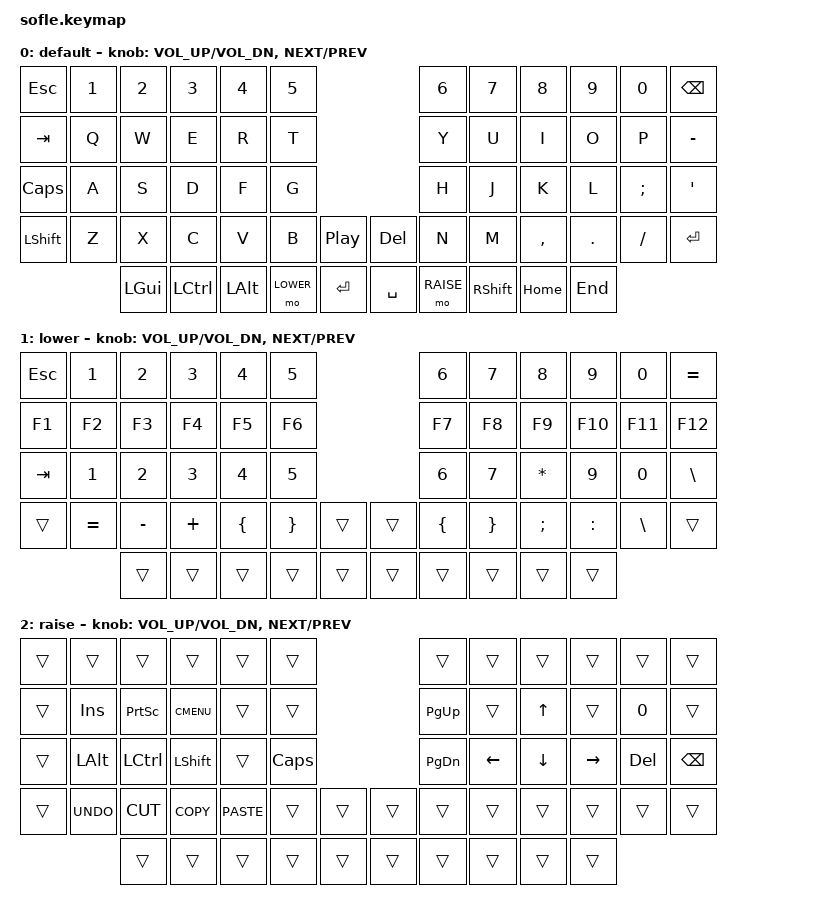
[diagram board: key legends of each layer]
#include <behaviors.dtsi>
#include <dt-bindings/zmk/keys.h>

#define BASE 0
#define LOWER 1
#define RAISE 2

/ {
    keymap {
        compatible = "zmk,keymap";

        default_layer {
            display-name = "default";

            bindings = <
&kp ESC   &kp N1    &kp N2    &kp N3    &kp N4    &kp N5                         &kp N6    &kp N7    &kp N8    &kp N9    &kp N0    &kp BSPC
&kp TAB   &kp Q     &kp W     &kp E     &kp R     &kp T                          &kp Y     &kp U     &kp I     &kp O     &kp P     &kp MINUS
&kp CLCK  &kp A     &kp S     &kp D     &kp F     &kp G                          &kp H     &kp J     &kp K     &kp L     &kp SEMI  &kp SQT
&kp LSHFT &kp Z     &kp X     &kp C     &kp V     &kp B     &kp C_PP  &kp DEL    &kp N     &kp M     &kp COMMA &kp DOT   &kp FSLH  &kp RET
                    &kp LGUI  &kp LCTRL &kp LALT  &mo LOWER &kp RET   &kp SPACE  &mo RAISE &kp RSHFT &kp HOME  &kp END
            >;

            sensor-bindings = <&inc_dec_kp C_VOL_UP C_VOL_DN &inc_dec_kp C_NEXT C_PREV>;
        };

        lower_layer {
            display-name = "lower";

            bindings = <
&kp ESC   &kp N1    &kp N2    &kp N3    &kp N4    &kp N5                         &kp N6    &kp N7    &kp N8    &kp N9    &kp N0    &kp EQUAL
&kp F1    &kp F2    &kp F3    &kp F4    &kp F5    &kp F6                         &kp F7    &kp F8    &kp F9    &kp F10   &kp F11   &kp F12
&kp TAB   &kp N1    &kp N2    &kp N3    &kp N4    &kp N5                         &kp N6    &kp N7    &kp ASTRK &kp N9    &kp N0    &kp BSLH
&trans    &kp EQUAL &kp MINUS &kp PLUS  &kp LBRC  &kp RBRC  &trans   &trans      &kp LBRC  &kp RBRC  &kp SEMI  &kp COLON &kp BSLH  &trans
                    &trans    &trans    &trans    &trans    &trans   &trans      &trans    &trans    &trans    &trans
            >;

            sensor-bindings = <&inc_dec_kp C_VOL_UP C_VOL_DN &inc_dec_kp C_NEXT C_PREV>;
        };

        raise_layer {
            display-name = "raise";

            bindings = <
&trans    &trans    &trans    &trans      &trans   &trans                        &trans    &trans    &trans   &trans    &trans  &trans
&trans    &kp INS   &kp PSCRN &kp K_CMENU &trans   &trans                        &kp PG_UP &trans    &kp UP   &trans    &kp N0  &trans
&trans    &kp LALT  &kp LCTRL &kp LSHFT   &trans   &kp CLCK                      &kp PG_DN &kp LEFT  &kp DOWN &kp RIGHT &kp DEL &kp BSPC
&trans    &kp K_UNDO &kp K_CUT &kp K_COPY &kp K_PASTE &trans &trans   &trans      &trans    &trans    &trans   &trans    &trans  &trans
                    &trans    &trans      &trans   &trans   &trans    &trans      &trans    &trans    &trans   &trans
            >;

            sensor-bindings = <&inc_dec_kp C_VOL_UP C_VOL_DN &inc_dec_kp C_NEXT C_PREV>;
        };
    };
};
